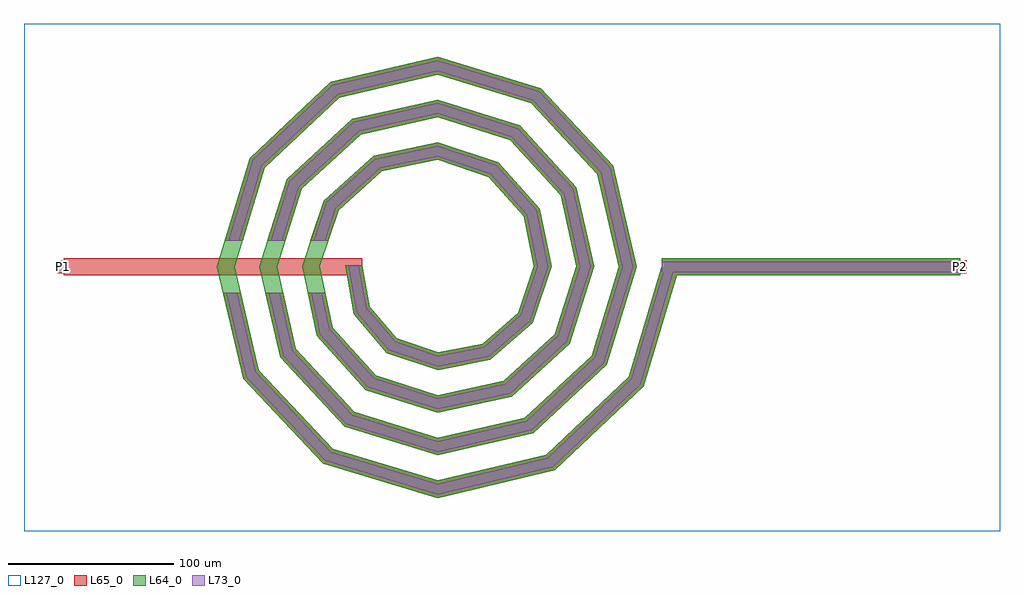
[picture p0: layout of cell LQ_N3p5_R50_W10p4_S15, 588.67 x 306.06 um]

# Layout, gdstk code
import gdstk
lib = gdstk.Library(unit=1e-6, precision=1e-09)
def R(c, l, rs):  # rectangles x0, y0, x1, y1
    for r in rs: c.add(gdstk.rectangle(r[:2], r[2:], *l))
def P(c, l, *ps):  # polygons
    for p in ps: c.add(gdstk.Polygon(p, *l))
L64_0 = (64, 0)
L65_0 = (65, 0)
L73_0 = (73, 0)
L127_0 = (127, 0)

lq_n3p5_r50_w10p4_s15 = lib.new_cell('LQ_N3p5_R50_W10p4_S15')
R(lq_n3p5_r50_w10p4_s15, L64_0, [(135.297,-5.2,315.297,5.2)])
P(lq_n3p5_r50_w10p4_s15, L64_0, [(-40.799,-24.025),(-24.404,-43.051),(0.377,-51.626),(27.197,-46.381),(48.591,-27.65),(58.046,0.339),(51.96,30.377),(30.889,54.136),(0.308,64.468),(-33.563,57.535),(-59.683,34.124),(-70.89,0.282),(-63.109,-36.753),(-37.354,-65.233),(0.26,-77.312),(39.946,-68.681),(70.785,-40.583),(83.734,0.241),(74.252,43.141),(43.808,76.339),(0.225,90.156),(-46.339,79.822),(-81.893,47.033),(-96.579,0.211),(-85.39,-49.539),(-50.255,-87.449),(0.198,-103.001),(52.74,-90.959),(93.005,-53.476),(109.424,0.187),(96.526,55.942),(56.697,98.562),(0.177,115.847),(-59.145,102.093),(-104.12,59.916),(-122.27,0.168),(-107.66,-62.349),(-63.135,-109.678),(0.16,-128.692),(65.553,-113.226),(115.237,-66.352),(135.514,1.489),(145.479,-1.489),(124.402,-72.003),(70.661,-122.705),(0.16,-139.455),(-68.798,-118.836),(-117.146,-67.443),(-133.032,0.168),(-113.269,65.594),(-64.224,111.588),(0.177,126.609),(62.39,107.702),(106.03,61.004),(120.185,0.187),(102.134,-59.187),(57.783,-100.472),(0.198,-113.762),(-55.986,-96.565),(-94.916,-54.561),(-107.339,0.211),(-90.996,52.785),(-51.338,89.359),(0.225,100.915),(49.586,85.426),(83.804,48.112),(94.492,0.241),(79.854,-46.389),(44.885,-78.25),(0.26,-88.068),(-43.194,-74.281),(-72.697,-41.655),(-81.644,0.282),(-68.706,40.002),(-38.422,67.146),(0.308,75.22),(36.814,63.129),(61.597,35.185),(68.795,0.339),(57.548,-33.63),(31.941,-56.05),(0.377,-62.37),(-30.453,-51.963),(-50.508,-28.69),(-55.686,0.954),(-45.463,0.954)])
R(lq_n3p5_r50_w10p4_s15, L65_0, [(-225.375,-5.2,-45.375,5.2), (135.297,-5.2,315.297,5.2), (-229.375,-4,-221.375,4), (311.297,-4,319.297,4)])
P(lq_n3p5_r50_w10p4_s15, L65_0, [(-107.66,-62.349),(-63.135,-109.678),(0.16,-128.692),(65.553,-113.226),(115.237,-66.353),(135.515,1.489),(145.479,-1.489),(124.402,-72.003),(70.661,-122.705),(0.16,-139.455),(-68.798,-118.836),(-117.146,-67.443),(-129.327,-15.6),(-118.644,-15.6)],
  [(-85.391,-49.539),(-50.255,-87.449),(0.198,-103.001),(52.74,-90.959),(93.005,-53.476),(109.424,0.187),(96.526,55.942),(56.697,98.562),(0.177,115.847),(-59.145,102.093),(-104.12,59.916),(-117.506,15.6),(-128.371,15.6),(-113.269,65.594),(-64.224,111.588),(0.177,126.609),(62.39,107.702),(106.03,61.004),(120.185,0.187),(102.134,-59.187),(57.783,-100.472),(0.198,-113.762),(-55.986,-96.565),(-94.916,-54.561),(-103.753,-15.6),(-93.088,-15.6)],
  [(-63.109,-36.753),(-37.354,-65.233),(0.26,-77.312),(39.946,-68.681),(70.785,-40.583),(83.734,0.241),(74.252,43.141),(43.808,76.339),(0.225,90.156),(-46.339,79.822),(-81.893,47.033),(-91.664,15.6),(-102.555,15.6),(-90.996,52.785),(-51.338,89.359),(0.225,100.915),(49.586,85.426),(83.804,48.112),(94.492,0.241),(79.854,-46.389),(44.885,-78.25),(0.26,-88.068),(-43.194,-74.281),(-72.697,-41.655),(-78.256,-15.6),(-67.622,-15.6)],
  [(-24.404,-43.051),(0.377,-51.626),(27.197,-46.381),(48.591,-27.65),(58.046,0.339),(51.96,30.377),(30.889,54.136),(0.308,64.468),(-33.563,57.535),(-59.683,34.124),(-65.717,15.6),(-76.655,15.6),(-68.706,40.002),(-38.422,67.146),(0.308,75.22),(36.814,63.129),(61.597,35.185),(68.795,0.339),(57.548,-33.63),(31.941,-56.05),(0.377,-62.37),(-30.453,-51.963),(-50.508,-28.69),(-55.686,0.955),(-45.463,0.955),(-40.799,-24.025)])
R(lq_n3p5_r50_w10p4_s15, L73_0, [(135.297,-3.2,315.297,3.2)])
P(lq_n3p5_r50_w10p4_s15, L73_0, [(-109.484,-63.328),(-64.224,-111.439),(0.099,-130.762),(66.536,-115.049),(116.999,-67.439),(137.431,0.916),(143.563,0.916),(122.64,-70.917),(69.679,-120.882),(0.099,-137.385),(-67.709,-117.075),(-115.322,-66.463),(-127.273,-15.6),(-120.698,-15.6)],
  [(-87.222,-50.505),(-51.357,-89.202),(0.122,-105.071),(53.71,-92.788),(94.761,-54.575),(111.494,0.115),(98.354,56.915),(57.792,100.32),(0.109,117.916),(-60.122,103.919),(-105.88,61.008),(-119.596,15.6),(-126.281,15.6),(-111.51,64.502),(-63.247,109.762),(0.109,124.539),(61.295,105.944),(104.202,60.031),(118.116,0.115),(100.378,-58.089),(56.813,-98.643),(0.122,-111.693),(-54.884,-94.812),(-93.084,-53.595),(-101.702,-15.6),(-95.139,-15.6)],
  [(-64.953,-37.695),(-38.478,-66.973),(0.16,-79.38),(40.896,-70.521),(72.529,-41.699),(85.803,0.148),(76.089,44.097),(44.92,78.086),(0.139,92.225),(-47.3,81.656),(-83.644,48.139),(-93.759,15.6),(-100.461,15.6),(-89.246,51.679),(-50.376,87.525),(0.139,98.846),(48.475,83.678),(81.967,47.156),(92.423,0.148),(78.11,-45.273),(43.935,-76.41),(0.16,-85.999),(-42.071,-72.541),(-70.853,-40.712),(-76.211,-15.6),(-69.667,-15.6)],
  [(-25.567,-44.765),(0.232,-53.692),(28.11,-48.241),(50.314,-28.8),(60.114,0.208),(53.813,31.302),(32.028,55.865),(0.189,66.536),(-34.497,59.384),(-61.419,35.254),(-67.82,15.6),(-74.551,15.6),(-66.971,38.872),(-37.488,65.298),(0.189,73.152),(35.674,61.399),(59.743,34.26),(66.728,0.208),(55.826,-32.48),(31.029,-54.191),(0.232,-60.304),(-29.29,-50.25),(-48.641,-27.793),(-53.72,0.587),(-47.429,0.587),(-42.666,-24.923)])
R(lq_n3p5_r50_w10p4_s15, L127_0, [(-249.375,-159.455,339.297,146.609)])
lq_n3p5_r50_w10p4_s15.add(gdstk.Label('P2', (315.297,0), layer=65, texttype=0))
lq_n3p5_r50_w10p4_s15.add(gdstk.Label('P1', (-225.375,0), layer=65, texttype=0))
lq_n3p5_r50_w10p4_s15.add(gdstk.Label('P2', (319.297,0), layer=145, texttype=0))
lq_n3p5_r50_w10p4_s15.add(gdstk.Label('P1', (-229.375,0), layer=145, texttype=0))

lib.write_gds('LQ_N3p5_R50_W10p4_S15.gds')
